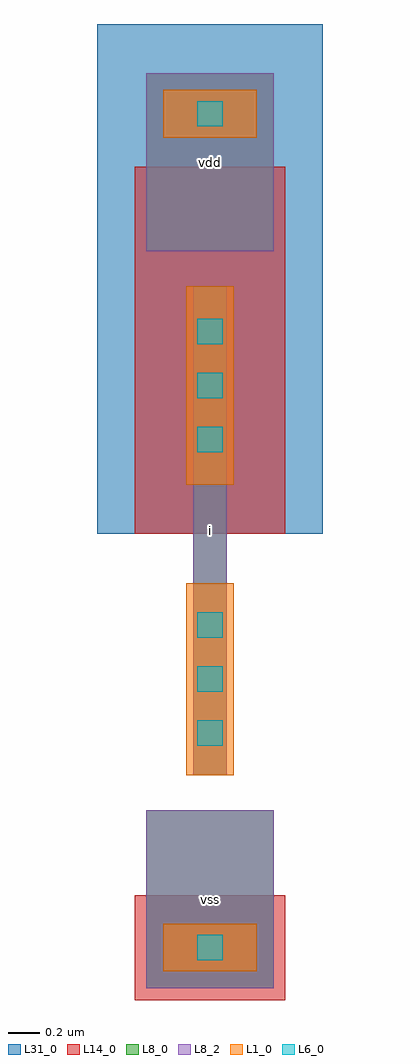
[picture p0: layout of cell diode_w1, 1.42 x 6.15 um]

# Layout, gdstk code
import gdstk
lib = gdstk.Library(unit=1e-6, precision=1e-09)
def R(c, l, rs):  # rectangles x0, y0, x1, y1
    for r in rs: c.add(gdstk.rectangle(r[:2], r[2:], *l))
def A(c, l, x, y, w, h, nx, ny, dx, dy):  # array of equal rectangles
    R(c, l, [(x+i*dx, y+j*dy, x+i*dx+w, y+j*dy+h) for i in range(nx) for j in range(ny)])
L1_0 = (1, 0)
L6_0 = (6, 0)
L8_0 = (8, 0)
L8_2 = (8, 2)
L14_0 = (14, 0)
L31_0 = (31, 0)

diode_w1 = lib.new_cell('diode_w1')
R(diode_w1, L1_0, [(0.105,0.105,0.695,0.405), (0.25,1.34,0.55,2.55), (0.25,3.17,0.55,4.42), (0.105,5.355,0.695,5.655)])
A(diode_w1, L6_0, 0.32, 1.525, 0.16, 0.16, 1, 3, 0, 0.34)
A(diode_w1, L6_0, 0.32, 3.375, 0.16, 0.16, 1, 3, 0, 0.34)
R(diode_w1, L6_0, [(0.32,0.175,0.48,0.335), (0.32,5.425,0.48,5.585)])
R(diode_w1, L8_0, [(0,0,0.8,1.12), (0.295,1.34,0.505,4.42), (0,4.64,0.8,5.76)])
R(diode_w1, L8_2, [(0,0,0.8,1.12), (0.295,1.34,0.505,4.42), (0,4.64,0.8,5.76)])
R(diode_w1, L14_0, [(-0.075,-0.075,0.875,0.585), (-0.075,2.86,0.875,5.17)])
R(diode_w1, L31_0, [(-0.31,2.86,1.11,6.07)])
diode_w1.add(gdstk.Label('vdd', (0.4,5.2), layer=8, texttype=2))
diode_w1.add(gdstk.Label('vss', (0.4,0.56), layer=8, texttype=2))
diode_w1.add(gdstk.Label('i', (0.4,2.88), layer=8, texttype=2))

lib.write_gds('diode_w1.gds')
